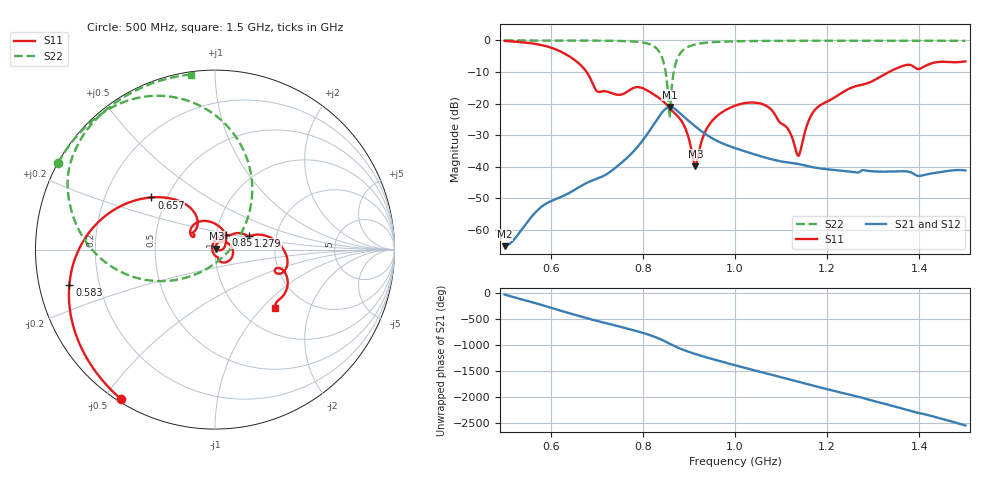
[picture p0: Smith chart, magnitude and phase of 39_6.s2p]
! TOUCHSTONE file generated by CST MICROWAVE STUDIO
! Date and time: Sat Oct 24 11:50:18 2020
! Project name: Scenario_1_Circular_Tissue_out_of_Line.cst
! Parameters = {dy1=312.958; L_HA=400; MT=2.54; Rad_Dielectric=30; Rad_Lower=7.3; Rad_Upper=30; a_HA=580; a_WG=246; b_HA=500; b_WG=121; c_HA=0; c_WG=187; d_feed=85; dx1=1039; h_feed=15; h_lower=18; h_upper=40}
! Header version: 2018
! Port assignment regex: !\s*Touchstone port\s*([0-9]+)\s*=\s*(CST MWS port|CST DS port)\s*([0-9]+|Zmin|Zmax)\s*\(\"(.*)\"\)(\s*mode\s*([0-9]+))?.*
! Touchstone port assignment:
! Touchstone port 1 = CST MWS port 1 ("")
! Touchstone port 2 = CST MWS port 2 ("")
# GHz S DB R 50
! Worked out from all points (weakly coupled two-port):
!   1001 points, 500 MHz to 1.5 GHz, reference 50 ohm
!   highest |S21| = -21.10 dB at 859 MHz (marker M1); lowest = -65.2 dB at 500 MHz (marker M2)
!   lowest |S11| = -39.8 dB at 914 MHz (marker M3), VSWR 1.02, Z = 50.8 + j0.612 ohm
!   |S11| at or under -10 dB: 678 MHz to 1.334 GHz (656 MHz wide, 65.2 % of centre)
!   |S22| runs from -24.5 to 0.0 dB; largest |S21 - S12| = 2.7e-05
!   S11 on the Smith chart (normalised r, x): 500 MHz: 0.01, -0.55; 583 MHz: 0.09, -0.12; 657 MHz: 0.41, +0.30; 850 MHz: 1.11, +0.18; 1.279 GHz: 1.44, +0.23; 1.5 GHz: 1.41, -1.18
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0.5  -0.14 -122.3  -65.17 -21.4  -65.17 -21.4  -0.01 151.1
0.583  -1.57 -166.5  -52.37 130.4  -52.37 130.4  -0.02 145.4
0.657  -6.78 140.6  -46.87 -63.8  -46.88 -63.8  -0.04 139.3
0.667  -8.08 133.0  -46.00 -89.1  -46.00 -89.1  -0.04 138.4
0.703  -16.27 134.8  -43.67 -177.2  -43.67 -177.2  -0.07 134.5
0.787  -14.79 131.3  -33.98 -9.4  -33.98 -9.4  -0.42 118.0
0.834  -18.10 74.4  -24.35 -148.4  -24.35 -148.4  -3.25 84.0
0.85  -20.07 53.5  -21.59 145.1  -21.59 145.1  -10.53 48.9
0.855  -20.89 47.2  -21.19 122.2  -21.19 122.2  -17.92 21.1
0.859  -21.57 42.8  -21.10 103.7  -21.10 103.7  -23.04 -82.1
0.876  -24.06 23.7  -22.47 31.5  -22.47 31.5  -5.39 -166.6
0.894  -28.48 -1.8  -24.80 -30.8  -24.80 -30.8  -2.36 172.3
0.914  -39.84 36.2  -27.25 -91.0  -27.25 -91.0  -1.27 160.6
0.945  -26.48 61.4  -30.52 -173.7  -30.52 -173.7  -0.60 150.3
1  -20.68 9.9  -34.10 51.8  -34.10 51.8  -0.28 140.3
1.073  -21.19 -55.6  -37.40 -116.9  -37.40 -116.9  -0.15 132.2
1.116  -28.28 -81.6  -38.68 142.8  -38.68 142.8  -0.11 128.3
1.137  -36.53 -166.9  -39.13 94.3  -39.13 94.3  -0.11 126.6
1.167  -23.33 76.3  -40.11 24.5  -40.11 24.5  -0.10 124.2
1.279  -13.91 22.1  -41.09 134.7  -41.09 134.7  -0.08 115.6
1.334  -10.00 12.2  -41.55 4.4  -41.55 4.4  -0.09 111.5
1.5  -6.62 -44.7  -41.19 -32.1  -41.19 -32.3  -0.13 97.9
